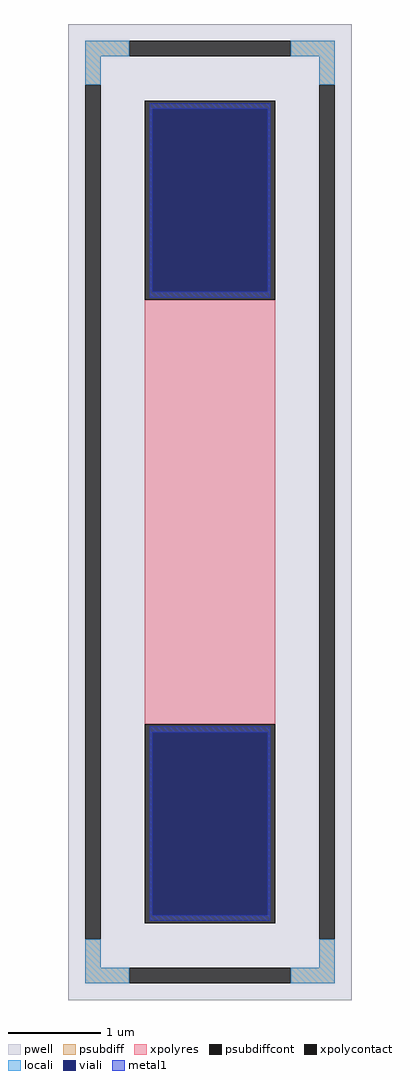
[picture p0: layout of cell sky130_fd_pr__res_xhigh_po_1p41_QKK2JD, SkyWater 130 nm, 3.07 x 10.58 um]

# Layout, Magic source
magic
tech sky130A
magscale 1 2
<< pwell >>
rect -307 -1058 307 1058
<< psubdiff >>
rect -271 988 -175 1022
rect 175 988 271 1022
rect -271 926 -237 988
rect 237 926 271 988
rect -271 -988 -237 -926
rect 237 -988 271 -926
rect -271 -1022 -175 -988
rect 175 -1022 271 -988
<< psubdiffcont >>
rect -175 988 175 1022
rect -271 -926 -237 926
rect 237 -926 271 926
rect -175 -1022 175 -988
<< xpolycontact >>
rect -141 460 141 892
rect -141 -892 141 -460
<< xpolyres >>
rect -141 -460 141 460
<< locali >>
rect -271 988 -175 1022
rect 175 988 271 1022
rect -271 926 -237 988
rect 237 926 271 988
rect -271 -988 -237 -926
rect 237 -988 271 -926
rect -271 -1022 -175 -988
rect 175 -1022 271 -988
<< viali >>
rect -125 477 125 874
rect -125 -874 125 -477
<< metal1 >>
rect -131 874 131 886
rect -131 477 -125 874
rect 125 477 131 874
rect -131 465 131 477
rect -131 -477 131 -465
rect -131 -874 -125 -477
rect 125 -874 131 -477
rect -131 -886 131 -874
<< properties >>
string FIXED_BBOX -254 -1005 254 1005
string gencell sky130_fd_pr__res_xhigh_po_1p41
string library sky130
string parameters w 1.410 l 4.757 m 1 nx 1 wmin 1.410 lmin 0.50 rho 2000 val 7.014k dummy 0 dw 0.0 term 188.2 sterm 0.0 caplen 0 wmax 1.410 guard 1 glc 1 grc 1 gtc 1 gbc 1 compatible {sky130_fd_pr__res_xhigh_po_0p35  sky130_fd_pr__res_xhigh_po_0p69 sky130_fd_pr__res_xhigh_po_1p41  sky130_fd_pr__res_xhigh_po_2p85 sky130_fd_pr__res_xhigh_po_5p73} snake 0 full_metal 1 n_guard 0 hv_guard 0 vias 1 viagb 0 viagt 0 viagl 0 viagr 0
<< end >>
